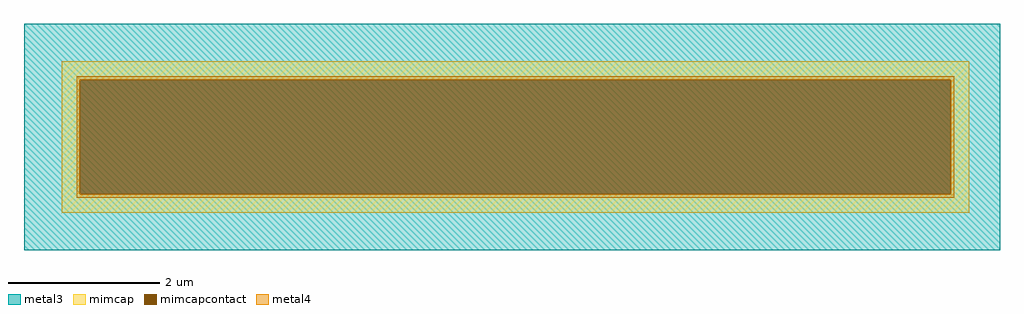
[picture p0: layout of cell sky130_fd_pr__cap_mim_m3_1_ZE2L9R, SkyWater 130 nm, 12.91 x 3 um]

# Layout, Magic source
magic
tech sky130A
magscale 1 2
<< metal3 >>
rect -1350 -300 1232 300
<< mimcap >>
rect -1250 152 1150 200
rect -1250 -152 -1202 152
rect 1102 -152 1150 152
rect -1250 -200 1150 -152
<< mimcapcontact >>
rect -1202 -152 1102 152
<< metal4 >>
rect -1211 152 1111 161
rect -1211 -152 -1202 152
rect 1102 -152 1111 152
rect -1211 -161 1111 -152
<< properties >>
string FIXED_BBOX -1350 -300 1250 300
<< end >>
